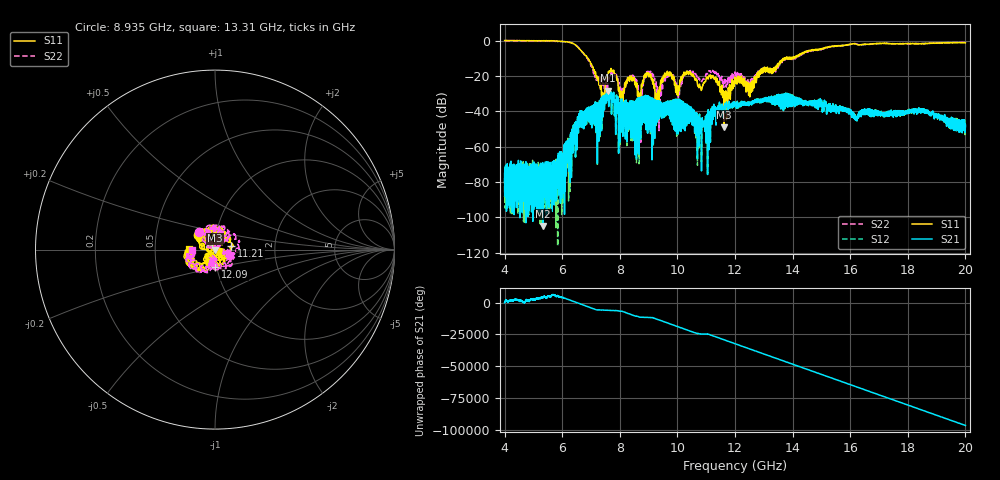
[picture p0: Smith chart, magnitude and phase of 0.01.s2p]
[Version] 2.0
! Rohde & Schwarz Vector Network Analyzer
! Rohde-Schwarz,ZNL20-2Port,1323001220200009,1.71.1.10-23.02.1.238
! Port Assignments:
! Nominal Port -> Actual Test Port
!  1 -> 1
!  2 -> 2
! Created: GMT+2 2025-01-16 20:19:46
# Hz S RI R 50
[Number of Ports] 2
[Two-Port Data Order] 21_12
! freq[Hz]  S11[Re]  S11[Im]  S21[Re]  S21[Im]  S12[Re]  S12[Im]  S22[Re]  S22[Im]
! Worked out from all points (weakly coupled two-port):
!   16001 points, 4 GHz to 20 GHz, reference 50 ohm
!   highest |S21| = -28.33 dB at 7.588 GHz (marker M1); lowest = -104.9 dB at 5.338 GHz (marker M2)
!   lowest |S11| = -49.0 dB at 11.62 GHz (marker M3), VSWR 1.01, Z = 50 - j0.355 ohm
!   |S11| at or under -10 dB: 6.889 GHz to 13.7 GHz (6.812 GHz wide, 66.2 % of centre); 13.71494 GHz to 13.74351 GHz (28.57 MHz wide, 0.208 % of centre); 13.9434 GHz to 13.96738 GHz (23.98 MHz wide, 0.172 % of centre) (the widest 3 of 9)
!   |S22| runs from -57.6 to 0.0 dB; largest |S21 - S12| = 0.0023
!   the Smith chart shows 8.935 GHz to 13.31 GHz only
!   S11 on the Smith chart (normalised r, x): 8.935 GHz: 0.82, +0.13; 11.21 GHz: 1.20, +0.05; 12.09 GHz: 0.99, -0.19; 13.31 GHz: 0.74, +0.00
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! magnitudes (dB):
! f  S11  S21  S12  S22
! 4 GHz  0.0  -75.0  -85.6  -0.2
! 5.338 GHz  -0.2  -104.9  -78.9  -0.2
! 5.817 GHz  -0.3  -71.7  -77.2  -0.4
! 6.667 GHz  -5.9  -42.1  -41.7  -6.0
! 7.401 GHz  -29.6  -33.8  -33.7  -22.0
! 7.588 GHz  -19.4  -28.3  -28.4  -23.2
! 8.064 GHz  -34.1  -36.4  -36.5  -28.3
! 8.427 GHz  -22.8  -41.8  -41.7  -21.7
! 8.712 GHz  -34.2  -36.9  -36.8  -37.5
! 8.935 GHz  -18.2  -32.1  -32.1  -17.6
! 9.334 GHz  -28.4  -34.3  -34.3  -30.6
! 9.623 GHz  -19.8  -35.4  -35.3  -20.8
! 10.05 GHz  -25.7  -33.3  -33.3  -27.9
! 10.77 GHz  -24.7  -41.8  -42.2  -21.5
! 11.21 GHz  -20.6  -38.2  -38.1  -17.2
! 11.62 GHz  -49.0  -37.6  -37.9  -24.4
! 12 GHz  -20.8  -36.1  -36.3  -18.4
! 12.09 GHz  -20.4  -36.6  -36.4  -18.6
! 13.31 GHz  -16.7  -32.1  -32.1  -18.0
! 14.67 GHz  -5.5  -34.6  -34.3  -5.8
! 17.33 GHz  -1.8  -40.9  -40.2  -1.8
! 20 GHz  -1.2  -48.1  -48.8  -1.1
